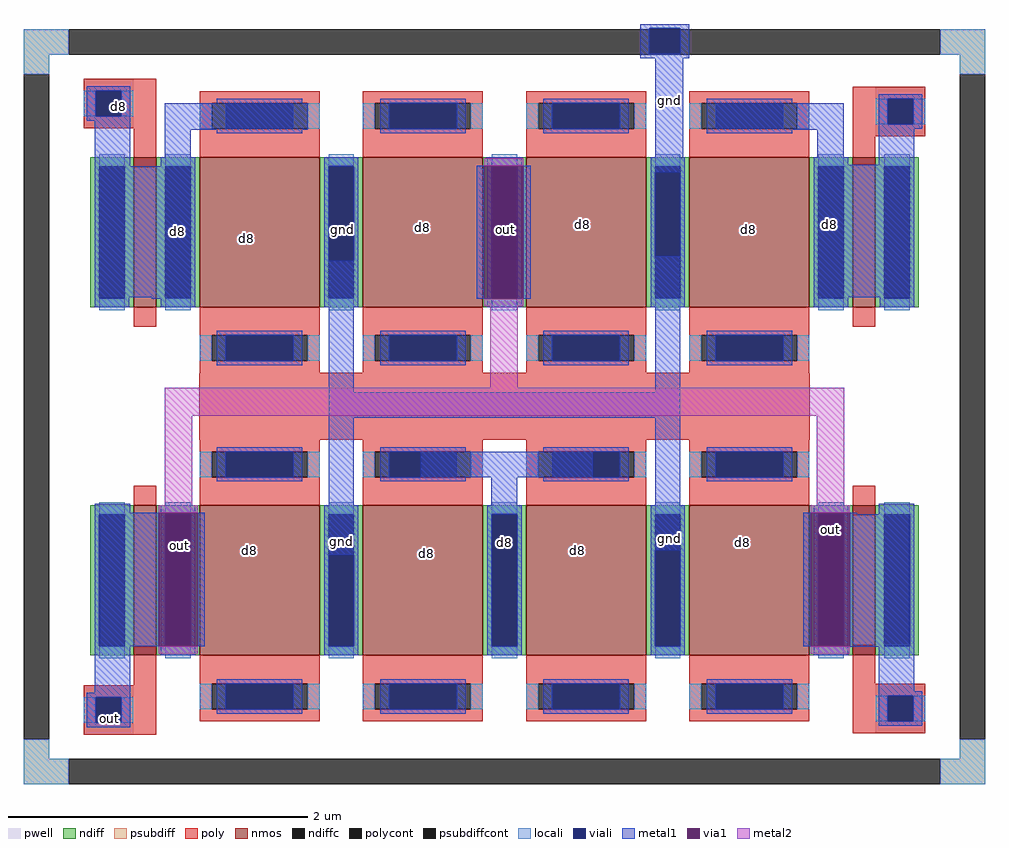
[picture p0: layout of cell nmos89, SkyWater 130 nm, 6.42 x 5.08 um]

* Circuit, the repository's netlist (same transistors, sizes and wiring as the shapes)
** sch_path: /home/muqtada/opamp/mag/nmos89/nmos89.sch
.subckt nmos89 GND OUT D8
*.PININFO GND:B OUT:B D8:B
XM8 D8 D8 GND GND sky130_fd_pr__nfet_01v8 L=0.8 W=1 nf=1 m=4
XM9 OUT D8 GND GND sky130_fd_pr__nfet_01v8 L=0.8 W=1 nf=1 m=4
XOUT OUT OUT OUT GND sky130_fd_pr__nfet_01v8 L=0.15 W=1 nf=1 m=2
XD8 D8 D8 D8 GND sky130_fd_pr__nfet_01v8 L=0.15 W=1 nf=1 m=2
.ends
.end

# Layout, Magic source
magic
tech sky130A
magscale 1 2
<< pwell >>
rect -97 745 -31 811
rect 961 734 1027 800
rect -97 -65 -31 1
rect 961 -63 1027 3
<< ndiff >>
rect 1010 506 1016 706
<< psubdiff >>
rect -177 843 -117 877
rect 1047 843 1107 877
rect -177 817 -143 843
rect 1073 817 1107 843
rect -177 -97 -143 -71
rect 1073 -97 1107 -71
rect -177 -131 -117 -97
rect 1047 -131 1107 -97
<< psubdiffcont >>
rect -117 843 1047 877
rect -177 -71 -143 817
rect 1073 -71 1107 817
rect -117 -131 1047 -97
<< poly >>
rect -97 795 0 811
rect -97 761 -81 795
rect -47 761 0 795
rect -97 745 0 761
rect -30 693 0 745
rect 930 784 1027 800
rect 930 750 977 784
rect 1011 750 1027 784
rect 930 734 1027 750
rect 930 696 960 734
rect 58 417 872 418
rect 57 329 873 417
rect -30 242 0 243
rect 930 228 960 243
rect -30 1 0 53
rect -97 -15 0 1
rect -97 -49 -81 -15
rect -47 -49 0 -15
rect -97 -65 0 -49
rect 930 3 960 55
rect 930 -13 1027 3
rect 930 -47 977 -13
rect 1011 -47 1027 -13
rect 930 -63 1027 -47
<< polycont >>
rect -81 761 -47 795
rect 977 750 1011 784
rect -81 -49 -47 -15
rect 977 -47 1011 -13
<< locali >>
rect -177 843 -117 877
rect 1047 843 1107 877
rect -177 817 -143 843
rect 1073 817 1107 843
rect -97 761 -81 795
rect -47 761 -31 795
rect 961 750 977 784
rect 1011 750 1027 784
rect 972 696 1006 698
rect -76 693 -42 695
rect 972 228 1006 231
rect 972 53 1006 55
rect -76 51 -42 53
rect -97 -49 -81 -15
rect -47 -49 -31 -15
rect 961 -47 977 -13
rect 1011 -47 1027 -13
rect -177 -97 -143 -71
rect 1073 -97 1107 -71
rect -177 -131 -117 -97
rect 1047 -131 1107 -97
<< viali >>
rect 658 877 700 878
rect 658 844 700 877
rect -81 761 -47 795
rect 977 750 1011 784
rect -81 -49 -47 -15
rect 977 -47 1011 -13
<< metal1 >>
rect 646 878 712 884
rect 646 844 658 878
rect 700 844 712 878
rect 646 838 712 844
rect -93 795 -35 801
rect -93 761 -81 795
rect -47 761 -35 795
rect -93 755 -35 761
rect -82 694 -35 755
rect 11 743 202 778
rect 11 698 46 743
rect 10 694 48 698
rect -82 693 48 694
rect -77 662 48 693
rect -77 519 47 662
rect -6 517 45 519
rect 230 392 264 568
rect 428 517 438 695
rect 490 517 500 695
rect 666 686 704 838
rect 965 784 1023 790
rect 745 743 918 778
rect 883 696 918 743
rect 965 750 977 784
rect 1011 750 1023 784
rect 965 744 1023 750
rect 965 696 1012 744
rect 883 695 974 696
rect 883 694 1010 695
rect 666 392 700 574
rect 878 519 1011 694
rect 884 518 905 519
rect 230 358 700 392
rect -82 231 -35 243
rect -45 230 3 231
rect -75 53 3 230
rect 55 53 65 231
rect 230 175 264 358
rect 353 279 583 313
rect 447 241 482 279
rect 666 181 700 358
rect 864 53 874 231
rect 926 229 936 231
rect 965 229 1012 243
rect 926 228 1012 229
rect 926 55 1005 228
rect 926 53 1012 55
rect -82 -9 -35 53
rect 885 52 1012 53
rect -93 -15 -35 -9
rect -93 -49 -81 -15
rect -47 -49 -35 -15
rect -93 -55 -35 -49
rect 965 -7 1012 52
rect 965 -13 1023 -7
rect 965 -47 977 -13
rect 1011 -47 1023 -13
rect 965 -53 1023 -47
<< via1 >>
rect 438 517 490 695
rect 3 53 55 231
rect 874 53 926 231
<< metal2 >>
rect 438 695 490 705
rect 438 507 490 517
rect 446 398 483 507
rect 11 361 919 398
rect 11 241 48 361
rect 882 241 919 361
rect 3 231 55 241
rect 3 43 55 53
rect 874 231 926 241
rect 874 43 926 53
use sky130_fd_pr__nfet_01v8_6H9P4D  sky130_fd_pr__nfet_01v8_6H9P4D_0
transform 1 0 945 0 1 141
box -73 -126 73 126
use sky130_fd_pr__nfet_01v8_6H9P4D  sky130_fd_pr__nfet_01v8_6H9P4D_2
transform 1 0 -15 0 1 141
box -73 -126 73 126
use sky130_fd_pr__nfet_01v8_6H9P4D  sky130_fd_pr__nfet_01v8_6H9P4D_3
transform 1 0 945 0 1 606
box -73 -126 73 126
use sky130_fd_pr__nfet_01v8_6H9P4D  sky130_fd_pr__nfet_01v8_6H9P4D_4
transform 1 0 -15 0 1 606
box -73 -126 73 126
use sky130_fd_pr__nfet_01v8_DXNGNZ  sky130_fd_pr__nfet_01v8_DXNGNZ_0
transform 1 0 465 0 1 606
box -465 -188 465 188
use sky130_fd_pr__nfet_01v8_DXNGNZ  sky130_fd_pr__nfet_01v8_DXNGNZ_1
transform 1 0 465 0 1 141
box -465 -188 465 188
<< labels >>
flabel via1 448 592 486 628 0 FreeSans 160 0 0 0 out
flabel metal1 880 598 918 634 0 FreeSans 160 0 0 0 d8
flabel via1 882 191 920 227 0 FreeSans 160 0 0 0 out
flabel via1 12 169 50 205 0 FreeSans 160 0 0 0 out
flabel metal1 16 592 41 623 0 FreeSans 160 0 0 0 d8
flabel viali -51 774 -51 774 0 FreeSans 800 0 0 0 d8
port 0 nsew
flabel viali -63 -43 -63 -43 0 FreeSans 800 0 0 0 out
port 1 nsew
flabel space 228 175 266 211 0 FreeSans 160 0 0 0 gnd
flabel space 666 179 704 215 0 FreeSans 160 0 0 0 gnd
flabel space 764 173 802 209 0 FreeSans 160 0 0 0 d8
flabel space 544 163 582 199 0 FreeSans 160 0 0 0 d8
flabel space 446 173 484 209 0 FreeSans 160 0 0 0 d8
flabel space 342 159 380 195 0 FreeSans 160 0 0 0 d8
flabel space 106 163 144 199 0 FreeSans 160 0 0 0 d8
flabel space 772 592 810 628 0 FreeSans 160 0 0 0 d8
flabel space 550 598 588 634 0 FreeSans 160 0 0 0 d8
flabel space 336 594 374 630 0 FreeSans 160 0 0 0 d8
flabel space 230 592 268 628 0 FreeSans 160 0 0 0 gnd
flabel space 102 580 140 616 0 FreeSans 160 0 0 0 d8
flabel metal1 666 686 704 878 0 FreeSans 800 0 0 0 gnd
port 2 nsew
<< end >>

# cell sky130_fd_pr__nfet_01v8_6H9P4D: kit device sky130_fd_pr__nfet_01v8, w 1 l 0.150 m 1 nf 1 diffcov 100 polycov 100 guard 0 glc 1 grc 1 gtc 1 gbc 1 tbcov 100 rlcov 100 topc 0 botc 0 poverlap 0 doverlap 1 lmin 0.15 wmin 0.42 compatible {sky130_fd_pr__nfet_01v8 sky130_fd_pr__nfet_01v8_lvt sky130_fd_bs_flash__special_sonosfet_star sky130_fd_pr__nfet_g5v0d10v5 sky130_fd_pr__nfet_05v0_nvt sky130_fd_pr__nfet_03v3_nvt} full_metal 1 viasrc 100 viadrn 100 viagate 100 viagb 0 viagr 0 viagl 0 viagt 0

# cell sky130_fd_pr__nfet_01v8_DXNGNZ: kit device sky130_fd_pr__nfet_01v8, w 1 l 0.8 m 1 nf 4 diffcov 100 polycov 100 guard 0 glc 1 grc 1 gtc 1 gbc 1 tbcov 100 rlcov 100 topc 1 botc 1 poverlap 0 doverlap 1 lmin 0.15 wmin 0.42 compatible {sky130_fd_pr__nfet_01v8 sky130_fd_pr__nfet_01v8_lvt sky130_fd_bs_flash__special_sonosfet_star sky130_fd_pr__nfet_g5v0d10v5 sky130_fd_pr__nfet_05v0_nvt sky130_fd_pr__nfet_03v3_nvt} full_metal 1 viasrc 100 viadrn 100 viagate 70 viagb 0 viagr 0 viagl 0 viagt 0
